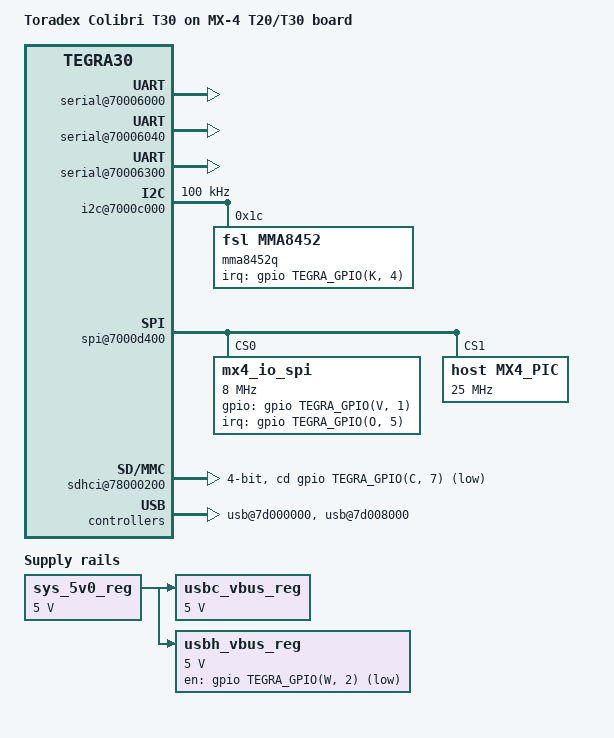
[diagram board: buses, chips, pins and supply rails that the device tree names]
/dts-v1/;

#include "tegra30-colibri.dtsi"

/ {
	model = "Toradex Colibri T30 on MX-4 T20/T30 board";
	compatible = "toradex,colibri_t30-eval-v3", "toradex,colibri_t30", "nvidia,tegra30";

	aliases {
		rtc0 = "/i2c@7000d000/tps65911@2d";
		serial0 = &uarta;
		serial1 = &uartb;
		serial2 = &uartd;
	};

	pinmux@70000868 {
		pinctrl-names = "default";
		pinctrl-0 = <&state_default>;

		state_default: pinmux {
			/* DATA-READY-PIC */
			ulpi_data4_po5 {
				nvidia,pins = "ulpi_data4_po5";
				nvidia,function = "uarta";
				nvidia,pull = <TEGRA_PIN_PULL_DOWN>;
				nvidia,tristate = <TEGRA_PIN_DISABLE>;
				nvidia,enable-input = <TEGRA_PIN_ENABLE>;
			};

			/* ACC-INT1 */
			gmi_cs3_n_pk4 {
				nvidia,pins = "gmi_cs3_n_pk4";
				nvidia,function = "nand";
				nvidia,pull = <TEGRA_PIN_PULL_NONE>;
				nvidia,tristate = <TEGRA_PIN_DISABLE>;
				nvidia,enable-input = <TEGRA_PIN_ENABLE>;
			};

			/* Thermal alert, need to be disabled */
			lcd_dc1_pd2 {
				nvidia,pins = "lcd_dc1_pd2";
				nvidia,function = "rsvd3";
				nvidia,pull = <TEGRA_PIN_PULL_NONE>;
				nvidia,tristate = <TEGRA_PIN_DISABLE>;
				nvidia,enable-input = <TEGRA_PIN_ENABLE>;
			};

			/* Colibri MMC */
			kb_row10_ps2 {
				nvidia,pins = "kb_row10_ps2";
				nvidia,function = "sdmmc2";
				nvidia,pull = <TEGRA_PIN_PULL_NONE>;
				nvidia,tristate = <TEGRA_PIN_DISABLE>;
			};
			kb_row11_ps3 {
				nvidia,pins =	"kb_row11_ps3",
						"kb_row12_ps4",
						"kb_row13_ps5",
						"kb_row14_ps6",
						"kb_row15_ps7";
				nvidia,function = "sdmmc2";
				nvidia,pull = <TEGRA_PIN_PULL_UP>;
				nvidia,tristate = <TEGRA_PIN_DISABLE>;
			};

			/* Colibri SSP */
			ulpi_clk_py0 {
				nvidia,pins =   "ulpi_clk_py0",
						"ulpi_dir_py1",
						"ulpi_nxt_py2",
						"ulpi_stp_py3";
				nvidia,function = "spi1";
				nvidia,pull = <TEGRA_PIN_PULL_NONE>;
				nvidia,tristate = <TEGRA_PIN_DISABLE>;
			};
			sdmmc3_dat6_pd3 {
				nvidia,pins =	"sdmmc3_dat6_pd3",
						"sdmmc3_dat7_pd4";
				nvidia,function = "spdif";
				nvidia,pull = <TEGRA_PIN_PULL_NONE>;
				nvidia,tristate = <TEGRA_PIN_ENABLE>;
			};

			/* Colibri UART_A */
			ulpi_data0 {
				nvidia,pins =   "ulpi_data0_po1",
						"ulpi_data1_po2",
						"ulpi_data2_po3",
						"ulpi_data3_po4",
						"ulpi_data4_po5",
						"ulpi_data5_po6",
						"ulpi_data6_po7",
						"ulpi_data7_po0";
				nvidia,function = "uarta";
				nvidia,pull = <TEGRA_PIN_PULL_NONE>;
				nvidia,tristate = <TEGRA_PIN_DISABLE>;
			};

			/* Colibri UART_B */
			gmi_a16_pj7 {
				nvidia,pins =   "gmi_a16_pj7",
						"gmi_a17_pb0",
						"gmi_a18_pb1",
						"gmi_a19_pk7";
				nvidia,function = "uartd";
				nvidia,pull = <TEGRA_PIN_PULL_NONE>;
				nvidia,tristate = <TEGRA_PIN_DISABLE>;
			};

			/* Colibri UART_C */
			uart2_rxd {
				nvidia,pins =   "uart2_rxd_pc3",
						"uart2_txd_pc2";
				nvidia,function = "uartb";
				nvidia,pull = <TEGRA_PIN_PULL_NONE>;
				nvidia,tristate = <TEGRA_PIN_DISABLE>;
			};

			/* eMMC */
			sdmmc4_clk_pcc4 {
				nvidia,pins =	"sdmmc4_clk_pcc4",
						"sdmmc4_rst_n_pcc3";
				nvidia,function = "sdmmc4";
				nvidia,pull = <TEGRA_PIN_PULL_NONE>;
				nvidia,tristate = <TEGRA_PIN_DISABLE>;
			};
			sdmmc4_dat0_paa0 {
				nvidia,pins =	"sdmmc4_dat0_paa0",
						"sdmmc4_dat1_paa1",
						"sdmmc4_dat2_paa2",
						"sdmmc4_dat3_paa3",
						"sdmmc4_dat4_paa4",
						"sdmmc4_dat5_paa5",
						"sdmmc4_dat6_paa6",
						"sdmmc4_dat7_paa7";
				nvidia,function = "sdmmc4";
				nvidia,pull = <TEGRA_PIN_PULL_UP>;
				nvidia,tristate = <TEGRA_PIN_DISABLE>;
			};
		};
	};

	serial@70006000 {
		status = "okay";
	};

	serial@70006040 {
		compatible = "nvidia,tegra30-hsuart";
		status = "okay";
	};

	serial@70006300 {
		compatible = "nvidia,tegra30-hsuart";
		status = "okay";
	};

		/*
	 * GEN1_I2C: I2C_SDA/SCL on SODIMM pin 194/196 (e.g. RTC on carrier
	 * board)
	 */
	i2c@7000c000 {
		status = "okay";
		clock-frequency = <100000>;

		/* Freescale MMA8452Q */
	    mma8452q@1c {
	    	compatible = "fsl,mma8452";
	    	reg = <0x1c>;
	        interrupt-parent = <&gpio>;
	        interrupts = <TEGRA_GPIO(K, 4) GPIO_ACTIVE_LOW>;
	    };
	};

	/* SPI1: Colibri SSP */
	spi@7000d400 {
		status = "okay";
		spi-max-frequency = <25000000>;

		mx4_io_spi: spi@0 {
	       	compatible = "mx4_io_spi";
	       	reg = <0>;
	       	spi-max-frequency = <8000000>;
			interrupt-parent = <&gpio>;
	       	interrupts = <TEGRA_GPIO(O, 5) GPIO_ACTIVE_HIGH>;
	       	gpios = <&gpio TEGRA_GPIO(V, 1) GPIO_ACTIVE_HIGH>;
	       	spi-cpha;
   		};

   	    mx4_pic: spi@1 {
        	compatible = "host,mx4_pic";
        	reg = <1>;
        	spi-max-frequency = <25000000>;
    	};
	};

	sdhci@78000200 {
		status = "okay";
		bus-width = <4>;
		cd-gpios = <&gpio TEGRA_GPIO(C, 7) GPIO_ACTIVE_LOW>;
		no-1-8-v;
	};

	/* EHCI instance 0: USB1_DP/N -> USBC_P/N */
	usb@7d000000 {
		status = "okay";
	};

	usb-phy@7d000000 {
		status = "okay";
		dr_mode = "otg";
		vbus-supply = <&usbc_vbus_reg>;
	};

	/* EHCI instance 2: USB3_DP/N -> USBH_P/N */
	usb@7d008000 {
		status = "okay";
	};

	usb-phy@7d008000 {
		status = "okay";
		vbus-supply = <&usbh_vbus_reg>;
	};

	regulators {
		sys_5v0_reg: regulator@1 {
			compatible = "regulator-fixed";
			reg = <1>;
			regulator-name = "5v0";
			regulator-min-microvolt = <5000000>;
			regulator-max-microvolt = <5000000>;
			regulator-always-on;
		};

		usbc_vbus_reg: regulator@2 {
			compatible = "regulator-fixed";
			reg = <2>;
			regulator-name = "usbc_vbus";
			regulator-min-microvolt = <5000000>;
			regulator-max-microvolt = <5000000>;
			vin-supply = <&sys_5v0_reg>;
		};

		/* USBH_PEN */
		usbh_vbus_reg: regulator@3 {
			compatible = "regulator-fixed";
			reg = <3>;
			regulator-name = "usbh_vbus";
			regulator-min-microvolt = <5000000>;
			regulator-max-microvolt = <5000000>;
			gpio = <&gpio TEGRA_GPIO(W, 2) GPIO_ACTIVE_LOW>;
			vin-supply = <&sys_5v0_reg>;
		};
	};
};
